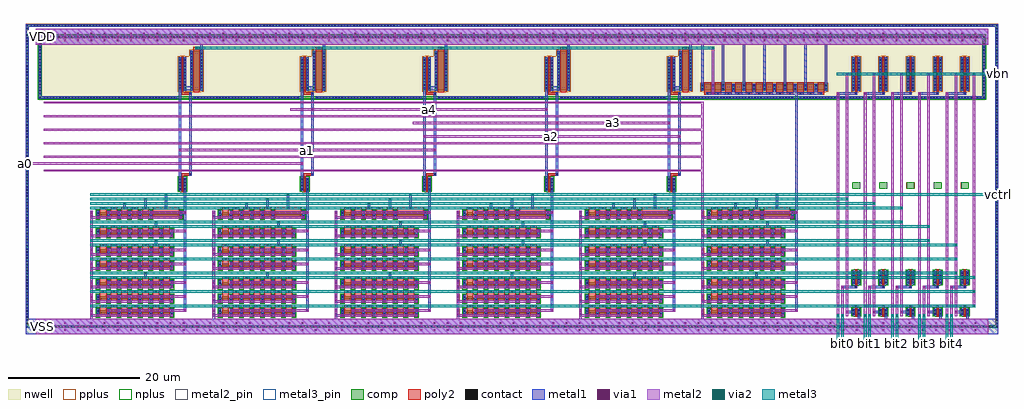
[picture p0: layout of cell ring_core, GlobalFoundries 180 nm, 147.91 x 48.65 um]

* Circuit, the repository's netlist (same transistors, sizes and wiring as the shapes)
* ring core exported from sim/vco/vco_bias.py netlist() by layout/gen/export_core.py
* dropped (reference/filter/wiring C): XMN1 XMN2 XRBW XRBN XMP1 XMP2 XMS1 XMS2 XMS3 Rvbn Cw0 Cw1 Cw2 Cw3 Cw4
.subckt ring_core VDD VSS vbn vctrl bit0 bit1 bit2 bit3 bit4 bitb0 bitb1 bitb2 bitb3 bitb4 a0 a1 a2 a3 a4
XTN0 g0 bit0 vbn VSS nfet_03v3 w=2u l=0.28u ad=1.0p as=1.0p pd=5.0u ps=5.0u m=1
XTP0 g0 bitb0 vbn VDD pfet_03v3 w=5u l=0.28u ad=2.5p as=2.5p pd=11.0u ps=11.0u m=1
XTD0 g0 bitb0 VSS VSS nfet_03v3 w=1u l=0.28u ad=0.5p as=0.5p pd=3.0u ps=3.0u m=1
XTN1 g1 bit1 vbn VSS nfet_03v3 w=2u l=0.28u ad=1.0p as=1.0p pd=5.0u ps=5.0u m=1
XTP1 g1 bitb1 vbn VDD pfet_03v3 w=5u l=0.28u ad=2.5p as=2.5p pd=11.0u ps=11.0u m=1
XTD1 g1 bitb1 VSS VSS nfet_03v3 w=1u l=0.28u ad=0.5p as=0.5p pd=3.0u ps=3.0u m=1
XTN2 g2 bit2 vbn VSS nfet_03v3 w=2u l=0.28u ad=1.0p as=1.0p pd=5.0u ps=5.0u m=1
XTP2 g2 bitb2 vbn VDD pfet_03v3 w=5u l=0.28u ad=2.5p as=2.5p pd=11.0u ps=11.0u m=1
XTD2 g2 bitb2 VSS VSS nfet_03v3 w=1u l=0.28u ad=0.5p as=0.5p pd=3.0u ps=3.0u m=1
XTN3 g3 bit3 vbn VSS nfet_03v3 w=2u l=0.28u ad=1.0p as=1.0p pd=5.0u ps=5.0u m=1
XTP3 g3 bitb3 vbn VDD pfet_03v3 w=5u l=0.28u ad=2.5p as=2.5p pd=11.0u ps=11.0u m=1
XTD3 g3 bitb3 VSS VSS nfet_03v3 w=1u l=0.28u ad=0.5p as=0.5p pd=3.0u ps=3.0u m=1
XTN4 g4 bit4 vbn VSS nfet_03v3 w=2u l=0.28u ad=1.0p as=1.0p pd=5.0u ps=5.0u m=1
XTP4 g4 bitb4 vbn VDD pfet_03v3 w=5u l=0.28u ad=2.5p as=2.5p pd=11.0u ps=11.0u m=1
XTD4 g4 bitb4 VSS VSS nfet_03v3 w=1u l=0.28u ad=0.5p as=0.5p pd=3.0u ps=3.0u m=1
XMPB vbp vbp VDD VDD pfet_03v3 w=1.0u l=1.0u ad=0.5p as=0.5p pd=3.0u ps=3.0u m=12
XFM vbp vbn VSS VSS nfet_03v3 w=0.25u l=1.0u ad=0.125p as=0.125p pd=1.5u ps=1.5u m=16
XFM_0 vbp g0 VSS VSS nfet_03v3 w=0.25u l=1.0u ad=0.125p as=0.125p pd=1.5u ps=1.5u m=1
XFM_1 vbp g1 VSS VSS nfet_03v3 w=0.25u l=1.0u ad=0.125p as=0.125p pd=1.5u ps=1.5u m=2
XFM_2 vbp g2 VSS VSS nfet_03v3 w=0.25u l=1.0u ad=0.125p as=0.125p pd=1.5u ps=1.5u m=4
XFM_3 vbp g3 VSS VSS nfet_03v3 w=0.25u l=1.0u ad=0.125p as=0.125p pd=1.5u ps=1.5u m=8
XFM_4 vbp g4 VSS VSS nfet_03v3 w=0.25u l=1.0u ad=0.125p as=0.125p pd=1.5u ps=1.5u m=16
XFFM vbp vctrl VSS VSS nfet_03v3 w=0.25u l=4.0u ad=0.125p as=0.125p pd=1.5u ps=1.5u m=1
XH0 h0 vbp VDD VDD pfet_03v3 w=6.0u l=1.0u ad=3.0p as=3.0p pd=13.0u ps=13.0u m=1
XP0 a1 a0 h0 VDD pfet_03v3 w=5.0u l=0.28u ad=2.5p as=2.5p pd=11.0u ps=11.0u m=1
XN0 a1 a0 f0 VSS nfet_03v3 w=2.0u l=0.28u ad=1.0p as=1.0p pd=5.0u ps=5.0u m=1
XFs0 f0 vbn VSS VSS nfet_03v3 w=0.25u l=1.0u ad=0.125p as=0.125p pd=1.5u ps=1.5u m=16
XFs0_0 f0 g0 VSS VSS nfet_03v3 w=0.25u l=1.0u ad=0.125p as=0.125p pd=1.5u ps=1.5u m=1
XFs0_1 f0 g1 VSS VSS nfet_03v3 w=0.25u l=1.0u ad=0.125p as=0.125p pd=1.5u ps=1.5u m=2
XFs0_2 f0 g2 VSS VSS nfet_03v3 w=0.25u l=1.0u ad=0.125p as=0.125p pd=1.5u ps=1.5u m=4
XFs0_3 f0 g3 VSS VSS nfet_03v3 w=0.25u l=1.0u ad=0.125p as=0.125p pd=1.5u ps=1.5u m=8
XFs0_4 f0 g4 VSS VSS nfet_03v3 w=0.25u l=1.0u ad=0.125p as=0.125p pd=1.5u ps=1.5u m=16
XFFs0 f0 vctrl VSS VSS nfet_03v3 w=0.25u l=4.0u ad=0.125p as=0.125p pd=1.5u ps=1.5u m=1
XH1 h1 vbp VDD VDD pfet_03v3 w=6.0u l=1.0u ad=3.0p as=3.0p pd=13.0u ps=13.0u m=1
XP1 a2 a1 h1 VDD pfet_03v3 w=5.0u l=0.28u ad=2.5p as=2.5p pd=11.0u ps=11.0u m=1
XN1 a2 a1 f1 VSS nfet_03v3 w=2.0u l=0.28u ad=1.0p as=1.0p pd=5.0u ps=5.0u m=1
XFs1 f1 vbn VSS VSS nfet_03v3 w=0.25u l=1.0u ad=0.125p as=0.125p pd=1.5u ps=1.5u m=16
XFs1_0 f1 g0 VSS VSS nfet_03v3 w=0.25u l=1.0u ad=0.125p as=0.125p pd=1.5u ps=1.5u m=1
XFs1_1 f1 g1 VSS VSS nfet_03v3 w=0.25u l=1.0u ad=0.125p as=0.125p pd=1.5u ps=1.5u m=2
XFs1_2 f1 g2 VSS VSS nfet_03v3 w=0.25u l=1.0u ad=0.125p as=0.125p pd=1.5u ps=1.5u m=4
XFs1_3 f1 g3 VSS VSS nfet_03v3 w=0.25u l=1.0u ad=0.125p as=0.125p pd=1.5u ps=1.5u m=8
XFs1_4 f1 g4 VSS VSS nfet_03v3 w=0.25u l=1.0u ad=0.125p as=0.125p pd=1.5u ps=1.5u m=16
XFFs1 f1 vctrl VSS VSS nfet_03v3 w=0.25u l=4.0u ad=0.125p as=0.125p pd=1.5u ps=1.5u m=1
XH2 h2 vbp VDD VDD pfet_03v3 w=6.0u l=1.0u ad=3.0p as=3.0p pd=13.0u ps=13.0u m=1
XP2 a3 a2 h2 VDD pfet_03v3 w=5.0u l=0.28u ad=2.5p as=2.5p pd=11.0u ps=11.0u m=1
XN2 a3 a2 f2 VSS nfet_03v3 w=2.0u l=0.28u ad=1.0p as=1.0p pd=5.0u ps=5.0u m=1
XFs2 f2 vbn VSS VSS nfet_03v3 w=0.25u l=1.0u ad=0.125p as=0.125p pd=1.5u ps=1.5u m=16
XFs2_0 f2 g0 VSS VSS nfet_03v3 w=0.25u l=1.0u ad=0.125p as=0.125p pd=1.5u ps=1.5u m=1
XFs2_1 f2 g1 VSS VSS nfet_03v3 w=0.25u l=1.0u ad=0.125p as=0.125p pd=1.5u ps=1.5u m=2
XFs2_2 f2 g2 VSS VSS nfet_03v3 w=0.25u l=1.0u ad=0.125p as=0.125p pd=1.5u ps=1.5u m=4
XFs2_3 f2 g3 VSS VSS nfet_03v3 w=0.25u l=1.0u ad=0.125p as=0.125p pd=1.5u ps=1.5u m=8
XFs2_4 f2 g4 VSS VSS nfet_03v3 w=0.25u l=1.0u ad=0.125p as=0.125p pd=1.5u ps=1.5u m=16
XFFs2 f2 vctrl VSS VSS nfet_03v3 w=0.25u l=4.0u ad=0.125p as=0.125p pd=1.5u ps=1.5u m=1
XH3 h3 vbp VDD VDD pfet_03v3 w=6.0u l=1.0u ad=3.0p as=3.0p pd=13.0u ps=13.0u m=1
XP3 a4 a3 h3 VDD pfet_03v3 w=5.0u l=0.28u ad=2.5p as=2.5p pd=11.0u ps=11.0u m=1
XN3 a4 a3 f3 VSS nfet_03v3 w=2.0u l=0.28u ad=1.0p as=1.0p pd=5.0u ps=5.0u m=1
XFs3 f3 vbn VSS VSS nfet_03v3 w=0.25u l=1.0u ad=0.125p as=0.125p pd=1.5u ps=1.5u m=16
XFs3_0 f3 g0 VSS VSS nfet_03v3 w=0.25u l=1.0u ad=0.125p as=0.125p pd=1.5u ps=1.5u m=1
XFs3_1 f3 g1 VSS VSS nfet_03v3 w=0.25u l=1.0u ad=0.125p as=0.125p pd=1.5u ps=1.5u m=2
XFs3_2 f3 g2 VSS VSS nfet_03v3 w=0.25u l=1.0u ad=0.125p as=0.125p pd=1.5u ps=1.5u m=4
XFs3_3 f3 g3 VSS VSS nfet_03v3 w=0.25u l=1.0u ad=0.125p as=0.125p pd=1.5u ps=1.5u m=8
XFs3_4 f3 g4 VSS VSS nfet_03v3 w=0.25u l=1.0u ad=0.125p as=0.125p pd=1.5u ps=1.5u m=16
XFFs3 f3 vctrl VSS VSS nfet_03v3 w=0.25u l=4.0u ad=0.125p as=0.125p pd=1.5u ps=1.5u m=1
XH4 h4 vbp VDD VDD pfet_03v3 w=6.0u l=1.0u ad=3.0p as=3.0p pd=13.0u ps=13.0u m=1
XP4 a0 a4 h4 VDD pfet_03v3 w=5.0u l=0.28u ad=2.5p as=2.5p pd=11.0u ps=11.0u m=1
XN4 a0 a4 f4 VSS nfet_03v3 w=2.0u l=0.28u ad=1.0p as=1.0p pd=5.0u ps=5.0u m=1
XFs4 f4 vbn VSS VSS nfet_03v3 w=0.25u l=1.0u ad=0.125p as=0.125p pd=1.5u ps=1.5u m=16
XFs4_0 f4 g0 VSS VSS nfet_03v3 w=0.25u l=1.0u ad=0.125p as=0.125p pd=1.5u ps=1.5u m=1
XFs4_1 f4 g1 VSS VSS nfet_03v3 w=0.25u l=1.0u ad=0.125p as=0.125p pd=1.5u ps=1.5u m=2
XFs4_2 f4 g2 VSS VSS nfet_03v3 w=0.25u l=1.0u ad=0.125p as=0.125p pd=1.5u ps=1.5u m=4
XFs4_3 f4 g3 VSS VSS nfet_03v3 w=0.25u l=1.0u ad=0.125p as=0.125p pd=1.5u ps=1.5u m=8
XFs4_4 f4 g4 VSS VSS nfet_03v3 w=0.25u l=1.0u ad=0.125p as=0.125p pd=1.5u ps=1.5u m=16
XFFs4 f4 vctrl VSS VSS nfet_03v3 w=0.25u l=4.0u ad=0.125p as=0.125p pd=1.5u ps=1.5u m=1
.ends

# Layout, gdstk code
import gdstk
lib = gdstk.Library(unit=1e-6, precision=1e-09)
def R(c, l, rs):  # rectangles x0, y0, x1, y1
    for r in rs: c.add(gdstk.rectangle(r[:2], r[2:], *l))
def A(c, l, x, y, w, h, nx, ny, dx, dy):  # array of equal rectangles
    R(c, l, [(x+i*dx, y+j*dy, x+i*dx+w, y+j*dy+h) for i in range(nx) for j in range(ny)])
nwell = (21, 0)
comp = (22, 0)
poly2 = (30, 0)
pplus = (31, 0)
nplus = (32, 0)
contact = (33, 0)
metal1 = (34, 0)
via1 = (35, 0)
metal2 = (36, 0)
metal2_pin = (36, 10)
via2 = (38, 0)
metal3 = (42, 0)
metal3_pin = (42, 10)

ring_sw = lib.new_cell('ring_sw')
R(ring_sw, nwell, [(-0.45,32.84,21.43,42.745)])
A(ring_sw, comp, 2.34, 0.2, 1.18, 1, 5, 2, 4.12, 19.17)
A(ring_sw, comp, 2.34, 4.915, 1.18, 2, 5, 1, 4.12, 0)
A(ring_sw, comp, 2.34, 34.27, 1.18, 5, 5, 1, 4.12, 0)
A(ring_sw, poly2, 2.79, -0.03, 0.28, 1.49, 5, 1, 4.12, 0)
A(ring_sw, poly2, 2.745, 1.46, 0.37, 0.37, 5, 2, 4.12, 2.825)
A(ring_sw, poly2, 2.79, 4.655, 0.28, 2.49, 5, 1, 4.12, 0)
A(ring_sw, poly2, 2.745, 33.64, 0.37, 0.37, 5, 1, 4.12, 0)
A(ring_sw, poly2, 2.79, 34.01, 0.28, 5.49, 5, 1, 4.12, 0)
A(ring_sw, pplus, 2.32, 19.35, 1.22, 1.04, 5, 1, 4.12, 0)
A(ring_sw, pplus, 2.56, 34.04, 0.74, 0.07, 5, 2, 4.12, 5.39)
A(ring_sw, pplus, 2.18, 34.11, 1.5, 5.32, 5, 1, 4.12, 0)
A(ring_sw, nplus, 2.56, -0.03, 0.74, 0.07, 5, 2, 4.12, 1.39)
A(ring_sw, nplus, 2.18, 0.04, 1.5, 1.32, 5, 1, 4.12, 0)
A(ring_sw, nplus, 2.56, 4.685, 0.74, 0.07, 5, 2, 4.12, 2.39)
A(ring_sw, nplus, 2.18, 4.755, 1.5, 2.32, 5, 1, 4.12, 0)
A(ring_sw, contact, 2.82, 1.535, 0.22, 0.22, 5, 2, 4.12, 2.825)
A(ring_sw, contact, 2.415, 5.1, 0.22, 0.22, 1, 4, 0, 0.47)
A(ring_sw, contact, 3.225, 5.1, 0.22, 0.22, 1, 4, 0, 0.47)
A(ring_sw, contact, 6.535, 5.1, 0.22, 0.22, 1, 4, 0, 0.47)
A(ring_sw, contact, 7.345, 5.1, 0.22, 0.22, 1, 4, 0, 0.47)
A(ring_sw, contact, 10.655, 5.1, 0.22, 0.22, 1, 4, 0, 0.47)
A(ring_sw, contact, 11.465, 5.1, 0.22, 0.22, 1, 4, 0, 0.47)
A(ring_sw, contact, 14.775, 5.1, 0.22, 0.22, 1, 4, 0, 0.47)
A(ring_sw, contact, 15.585, 5.1, 0.22, 0.22, 1, 4, 0, 0.47)
A(ring_sw, contact, 18.895, 5.1, 0.22, 0.22, 1, 4, 0, 0.47)
A(ring_sw, contact, 19.705, 5.1, 0.22, 0.22, 1, 4, 0, 0.47)
A(ring_sw, contact, 2.82, 33.715, 0.22, 0.22, 5, 1, 4.12, 0)
A(ring_sw, contact, 2.415, 34.545, 0.22, 0.22, 1, 10, 0, 0.47)
A(ring_sw, contact, 3.225, 34.545, 0.22, 0.22, 1, 10, 0, 0.47)
A(ring_sw, contact, 6.535, 34.545, 0.22, 0.22, 1, 10, 0, 0.47)
A(ring_sw, contact, 7.345, 34.545, 0.22, 0.22, 1, 10, 0, 0.47)
A(ring_sw, contact, 10.655, 34.545, 0.22, 0.22, 1, 10, 0, 0.47)
A(ring_sw, contact, 11.465, 34.545, 0.22, 0.22, 1, 10, 0, 0.47)
A(ring_sw, contact, 14.775, 34.545, 0.22, 0.22, 1, 10, 0, 0.47)
A(ring_sw, contact, 15.585, 34.545, 0.22, 0.22, 1, 10, 0, 0.47)
A(ring_sw, contact, 18.895, 34.545, 0.22, 0.22, 1, 10, 0, 0.47)
A(ring_sw, contact, 19.705, 34.545, 0.22, 0.22, 1, 10, 0, 0.47)
R(ring_sw, contact, [(2.415,0.355,2.635,0.575), (3.225,0.355,3.445,0.575), (6.535,0.355,6.755,0.575), (7.345,0.355,7.565,0.575), (10.655,0.355,10.875,0.575), (11.465,0.355,11.685,0.575), (14.775,0.355,14.995,0.575), (15.585,0.355,15.805,0.575), (18.895,0.355,19.115,0.575), (19.705,0.355,19.925,0.575), (2.415,0.825,2.635,1.045), (3.225,0.825,3.445,1.045), (6.535,0.825,6.755,1.045), (7.345,0.825,7.565,1.045), (10.655,0.825,10.875,1.045), (11.465,0.825,11.685,1.045), (14.775,0.825,14.995,1.045), (15.585,0.825,15.805,1.045), (18.895,0.825,19.115,1.045), (19.705,0.825,19.925,1.045)])
A(ring_sw, metal1, 3.145, -0.7, 0.38, 1.905, 5, 1, 4.12, 0)
A(ring_sw, metal1, 2.335, 0.195, 0.38, 0.315, 5, 2, 4.12, 0.695)
A(ring_sw, metal1, 1.36, 0.51, 1.355, 0.38, 5, 2, 4.12, 5.215)
A(ring_sw, metal1, 0, 1.455, 3.12, 0.38, 5, 2, 4.12, 32.18)
A(ring_sw, metal1, 0.68, 4.28, 2.44, 0.38, 5, 1, 4.12, 0)
A(ring_sw, metal1, 2.335, 4.91, 0.38, 0.815, 5, 2, 4.12, 1.195)
A(ring_sw, metal1, 3.145, 4.91, 0.38, 2.01, 5, 1, 4.12, 0)
A(ring_sw, metal1, 2.335, 34.265, 0.38, 2.315, 5, 2, 4.12, 2.695)
A(ring_sw, metal1, 3.145, 34.265, 0.38, 5.01, 5, 1, 4.12, 0)
A(ring_sw, metal1, 1.36, 36.58, 1.355, 0.38, 5, 1, 4.12, 0)
A(ring_sw, via1, 1.42, 0.57, 0.26, 0.26, 5, 1, 4.12, 0)
A(ring_sw, via1, 0.06, 1.515, 0.26, 0.26, 5, 2, 4.12, 32.18)
A(ring_sw, via1, 0.74, 4.34, 0.26, 0.26, 5, 1, 4.12, 0)
R(ring_sw, via1, [(1.42,5.785,1.68,6.045), (3.205,5.785,3.465,6.045), (5.54,5.785,5.8,6.045), (7.325,5.785,7.585,6.045), (9.66,5.785,9.92,6.045), (11.445,5.785,11.705,6.045), (13.78,5.785,14.04,6.045), (15.565,5.785,15.825,6.045), (17.9,5.785,18.16,6.045), (19.685,5.785,19.945,6.045), (1.42,36.64,1.68,36.9), (3.205,36.64,3.465,36.9), (5.54,36.64,5.8,36.9), (7.325,36.64,7.585,36.9), (9.66,36.64,9.92,36.9), (11.445,36.64,11.705,36.9), (13.78,36.64,14.04,36.9), (15.565,36.64,15.825,36.9), (17.9,36.64,18.16,36.9), (19.685,36.64,19.945,36.9)])
A(ring_sw, metal2, 0, 0, 0.38, 34.015, 5, 1, 4.12, 0)
A(ring_sw, metal2, 0.68, 0, 0.38, 4.66, 5, 1, 4.12, 0)
A(ring_sw, metal2, 1.36, 0.08, 0.38, 36.88, 5, 1, 4.12, 0)
A(ring_sw, metal2, 3.145, 5.725, 0.38, 0.38, 5, 2, 4.12, 30.855)
R(ring_sw, metal2, [(20.6,1.455,20.98,36.96)])
A(ring_sw, via2, 20.66, 1.515, 0.26, 0.26, 1, 3, 0, 2.135)
A(ring_sw, via2, 3.205, 5.785, 0.26, 0.26, 5, 2, 4.12, 30.855)
A(ring_sw, via2, 17.9, 6.465, 0.26, 0.26, 1, 3, 0, 2.135)
R(ring_sw, via2, [(0.06,0.06,0.32,0.32), (0.74,0.06,1,0.32), (4.18,0.06,4.44,0.32), (4.86,0.06,5.12,0.32), (8.3,0.06,8.56,0.32), (8.98,0.06,9.24,0.32), (12.42,0.06,12.68,0.32), (13.1,0.06,13.36,0.32), (16.54,0.06,16.8,0.32), (17.22,0.06,17.48,0.32), (13.78,11.415,14.04,11.675), (13.78,13.55,14.04,13.81), (9.66,14.23,9.92,14.49), (9.66,16.365,9.92,16.625), (5.54,17.045,5.8,17.305), (1.42,17.725,1.68,17.985), (20.66,36.64,20.92,36.9)])
A(ring_sw, metal3, 20.6, 1.455, 0.38, 0.38, 1, 3, 0, 2.135)
A(ring_sw, metal3, 3.145, 5.725, 0.38, 0.38, 5, 1, 4.12, 0)
A(ring_sw, metal3, 17.84, 6.405, 0.38, 0.38, 1, 3, 0, 2.135)
R(ring_sw, metal3, [(0,0,0.38,0.38), (0.68,0,1.06,0.38), (4.12,0,4.5,0.38), (4.8,0,5.18,0.38), (8.24,0,8.62,0.38), (8.92,0,9.3,0.38), (12.36,0,12.74,0.38), (13.04,0,13.42,0.38), (16.48,0,16.86,0.38), (17.16,0,17.54,0.38), (13.72,11.355,14.1,11.735), (13.72,13.49,14.1,13.87), (9.6,14.17,9.98,14.55), (9.6,16.305,9.98,16.685), (5.48,16.985,5.86,17.365), (1.36,17.665,1.74,18.045), (0,36.58,20.98,36.96)])

ring_master = lib.new_cell('ring_master')
R(ring_master, nwell, [(-0.45,32.84,19.51,42.745)])
A(ring_master, comp, 0, 0, 0.38, 1.2, 1, 3, 0, 2.135)
A(ring_master, comp, 0.98, 0, 0.38, 0.475, 8, 2, 1.6, 0.725)
A(ring_master, comp, 0.98, 0.475, 11.58, 0.25, 1, 3, 0, 2.135)
A(ring_master, comp, 0.98, 2.135, 0.38, 0.475, 8, 2, 1.6, 0.725)
A(ring_master, comp, 0.98, 4.27, 0.38, 0.475, 8, 2, 1.6, 0.725)
A(ring_master, comp, 0.98, 7.085, 0.38, 0.475, 8, 2, 1.6, 0.725)
A(ring_master, comp, 0, 9.22, 0.38, 1.2, 1, 3, 0, 2.815)
A(ring_master, comp, 0.98, 9.22, 0.38, 0.475, 8, 2, 1.6, 0.725)
A(ring_master, comp, 0.98, 12.035, 0.38, 0.475, 8, 2, 1.6, 0.725)
A(ring_master, comp, 0.98, 14.85, 0.38, 0.475, 6, 2, 1.6, 0.725)
R(ring_master, comp, [(0,7.085,0.38,8.285), (0.98,7.56,12.56,7.81), (0.98,9.695,12.56,9.945), (0.98,12.51,12.56,12.76), (13.58,14.85,13.96,15.325), (0.98,15.325,13.96,15.575), (13.58,15.575,13.96,16.05), (0,34.27,19.06,35.27)])
A(ring_master, poly2, 1.47, 0.245, 1, 1.585, 7, 3, 1.6, 2.135)
A(ring_master, poly2, 1.47, 7.33, 1, 1.585, 7, 2, 1.6, 2.135)
A(ring_master, poly2, 1.47, 12.28, 1, 1.585, 7, 1, 1.6, 0)
A(ring_master, poly2, 1.47, 15.095, 1, 1.585, 5, 1, 1.6, 0)
A(ring_master, poly2, 0.45, 33.64, 1, 1.86, 12, 1, 1.56, 0)
R(ring_master, poly2, [(9.47,15.095,13.47,16.68)])
A(ring_master, pplus, -0.02, -0.025, 0.42, 1.25, 1, 3, 0, 2.135)
A(ring_master, pplus, -0.02, 9.195, 0.42, 1.25, 1, 3, 0, 2.815)
R(ring_master, pplus, [(-0.02,7.06,0.4,8.31), (0.22,34.04,18.84,34.11), (-0.16,34.11,19.22,35.43), (0.22,35.43,18.84,35.5)])
A(ring_master, nplus, 0.82, -0.16, 0.7, 0.405, 8, 2, 1.6, 1.115)
A(ring_master, nplus, 0.82, 0.245, 11.9, 0.71, 1, 3, 0, 2.135)
A(ring_master, nplus, 0.82, 1.975, 0.7, 0.405, 8, 2, 1.6, 1.115)
A(ring_master, nplus, 0.82, 4.11, 0.7, 0.405, 8, 2, 1.6, 1.115)
A(ring_master, nplus, 0.82, 6.925, 0.7, 0.405, 8, 2, 1.6, 1.115)
A(ring_master, nplus, 0.82, 9.06, 0.7, 0.405, 8, 2, 1.6, 1.115)
A(ring_master, nplus, 0.82, 11.875, 0.7, 0.405, 8, 2, 1.6, 1.115)
A(ring_master, nplus, 0.82, 14.69, 0.7, 0.405, 6, 2, 1.6, 1.115)
R(ring_master, nplus, [(0.82,7.33,12.72,8.04), (0.82,9.465,12.72,10.175), (0.82,12.28,12.72,12.99), (13.42,14.69,14.12,15.095), (0.82,15.095,14.12,15.805), (13.42,15.805,14.12,16.21)])
A(ring_master, contact, 1.06, 0.255, 0.22, 0.22, 8, 2, 1.6, 0.47)
A(ring_master, contact, 1.86, 1.535, 0.22, 0.22, 7, 3, 1.6, 2.135)
A(ring_master, contact, 1.06, 2.39, 0.22, 0.22, 8, 2, 1.6, 0.47)
A(ring_master, contact, 1.06, 4.525, 0.22, 0.22, 8, 2, 1.6, 0.47)
A(ring_master, contact, 1.06, 7.34, 0.22, 0.22, 8, 2, 1.6, 0.47)
A(ring_master, contact, 1.86, 8.62, 0.22, 0.22, 7, 2, 1.6, 2.135)
A(ring_master, contact, 1.06, 9.475, 0.22, 0.22, 8, 2, 1.6, 0.47)
A(ring_master, contact, 1.06, 12.29, 0.22, 0.22, 8, 2, 1.6, 0.47)
A(ring_master, contact, 1.86, 13.57, 0.22, 0.22, 7, 1, 1.6, 0)
A(ring_master, contact, 1.06, 15.105, 0.22, 0.22, 6, 2, 1.6, 0.47)
A(ring_master, contact, 1.86, 16.385, 0.22, 0.22, 5, 1, 1.6, 0)
A(ring_master, contact, 0.84, 33.715, 0.22, 0.22, 12, 1, 1.56, 0)
A(ring_master, contact, 1.62, 34.425, 0.22, 0.22, 11, 2, 1.56, 0.47)
R(ring_master, contact, [(0.08,0.255,0.3,0.475), (0.08,0.725,0.3,0.945), (0.08,2.39,0.3,2.61), (0.08,2.86,0.3,3.08), (0.08,4.525,0.3,4.745), (0.08,4.995,0.3,5.215), (0.08,7.34,0.3,7.56), (0.08,7.81,0.3,8.03), (0.08,9.475,0.3,9.695), (0.08,9.945,0.3,10.165), (0.08,12.29,0.3,12.51), (0.08,12.76,0.3,12.98), (0.08,15.105,0.3,15.325), (13.66,15.105,13.88,15.325), (0.08,15.575,0.3,15.795), (13.66,15.575,13.88,15.795), (11.36,16.385,11.58,16.605), (0.075,34.425,0.295,34.645), (18.765,34.425,18.985,34.645), (0.075,34.895,0.295,35.115), (18.765,34.895,18.985,35.115)])
A(ring_master, metal1, 0, -0.005, 0.38, 1.21, 1, 3, 0, 2.135)
A(ring_master, metal1, 0.98, -0.005, 0.38, 1.21, 8, 3, 1.6, 2.135)
A(ring_master, metal1, 0.98, 7.08, 0.38, 1.21, 8, 2, 1.6, 2.135)
A(ring_master, metal1, 0, 9.215, 0.38, 1.21, 1, 3, 0, 2.815)
A(ring_master, metal1, 0.98, 12.03, 0.38, 1.21, 8, 1, 1.6, 0)
A(ring_master, metal1, 0.98, 14.845, 0.38, 1.21, 6, 1, 1.6, 0)
A(ring_master, metal1, 1.54, 34.015, 0.38, 1.26, 6, 1, 3.12, 0)
A(ring_master, metal1, 3.1, 34.265, 0.38, 7.34, 5, 1, 3.12, 0)
R(ring_master, metal1, [(14.2,0.715,14.58,33.635), (1.78,1.455,11.76,1.835), (1.78,3.59,11.76,3.97), (1.78,5.725,3.76,6.105), (4.98,5.725,11.76,6.105), (8.18,6.105,8.56,6.785), (0,7.08,0.38,8.29), (1.78,8.54,11.76,8.92), (1.78,10.675,6.96,11.055), (8.18,10.675,11.76,11.055), (9.78,11.055,10.16,11.735), (1.78,13.49,8.56,13.87), (9.78,13.49,11.76,13.87), (9.78,13.87,10.16,14.55), (13.58,14.845,13.96,16.055), (1.78,16.305,3.76,16.685), (4.98,16.305,6.96,16.685), (8.18,16.305,8.56,18.045), (11.28,16.305,11.66,18.725), (4.98,16.685,5.36,17.365), (0.76,33.635,18.3,34.015), (-0.005,34.265,0.375,41.605), (18.685,34.265,19.065,41.605)])
A(ring_master, via1, 1.04, 0.06, 0.26, 0.26, 4, 3, 3.2, 2.135)
A(ring_master, via1, 2.64, 0.78, 0.26, 0.26, 4, 3, 3.2, 2.135)
A(ring_master, via1, 14.26, 0.78, 0.26, 0.26, 1, 3, 0, 2.135)
A(ring_master, via1, 1.04, 7.145, 0.26, 0.26, 4, 2, 3.2, 2.135)
A(ring_master, via1, 2.64, 7.865, 0.26, 0.26, 4, 2, 3.2, 2.135)
A(ring_master, via1, 14.26, 10, 0.26, 0.26, 1, 3, 0, 2.815)
A(ring_master, via1, 1.04, 12.095, 0.26, 0.26, 4, 1, 3.2, 0)
A(ring_master, via1, 2.64, 12.815, 0.26, 0.26, 4, 1, 3.2, 0)
A(ring_master, via1, 1.04, 14.91, 0.26, 0.26, 3, 1, 3.2, 0)
A(ring_master, via1, 2.64, 15.63, 0.26, 0.26, 3, 1, 3.2, 0)
R(ring_master, via1, [(0.06,0.21,0.32,0.47), (0.06,0.73,0.32,0.99), (6.64,1.515,6.9,1.775), (0.06,2.345,0.32,2.605), (0.06,2.865,0.32,3.125), (6.64,3.65,6.9,3.91), (0.06,4.48,0.32,4.74), (0.06,5,0.32,5.26), (1.84,5.785,2.1,6.045), (8.24,6.465,8.5,6.725), (0.06,7.295,0.32,7.555), (0.06,7.815,0.32,8.075), (14.26,7.865,14.52,8.125), (6.64,8.6,6.9,8.86), (0.06,9.43,0.32,9.69), (0.06,9.95,0.32,10.21), (3.44,10.735,3.7,10.995), (9.84,11.415,10.1,11.675), (0.06,12.245,0.32,12.505), (0.06,12.765,0.32,13.025), (5.04,13.55,5.3,13.81), (9.84,14.23,10.1,14.49), (13.64,14.91,13.9,15.17), (0.06,15.06,0.32,15.32), (0.06,15.58,0.32,15.84), (1.84,16.365,2.1,16.625), (5.04,17.045,5.3,17.305), (8.24,17.725,8.5,17.985), (11.34,18.405,11.6,18.665), (1.6,33.695,1.86,33.955)])
A(ring_master, metal2, 0, 0, 12.56, 0.38, 1, 3, 0, 2.135)
A(ring_master, metal2, 2.58, 0.72, 12, 0.38, 1, 3, 0, 2.135)
A(ring_master, metal2, 2.58, 9.94, 12, 0.38, 1, 3, 0, 2.815)
R(ring_master, metal2, [(0,-0.7,0.38,0), (0,0.38,0.38,2.135), (6.58,1.455,6.96,1.835), (0,2.515,0.38,4.27), (6.58,3.59,6.96,3.97), (0,4.65,0.38,7.085), (1.78,5.725,2.16,6.105), (8.18,6.405,8.56,6.785), (0,7.085,12.56,7.465), (0,7.465,0.38,9.22), (2.58,7.805,14.58,8.185), (6.58,8.54,6.96,8.92), (0,9.22,12.56,9.6), (0,9.6,0.38,12.035), (3.38,10.675,3.76,11.055), (9.78,11.355,10.16,11.735), (0,12.035,12.56,12.415), (0,12.415,0.38,14.85), (4.98,13.49,5.36,13.87), (9.78,14.17,10.16,14.55), (0,14.85,13.96,15.23), (0,15.23,0.38,16.05), (1.78,16.305,2.16,16.685), (4.98,16.985,5.36,17.365), (8.18,17.665,8.56,18.045), (11.28,18.345,11.66,18.725), (1.54,33.635,1.92,40.905)])
R(ring_master, via2, [(6.64,1.515,6.9,1.775), (6.64,3.65,6.9,3.91), (1.84,5.785,2.1,6.045), (8.24,6.465,8.5,6.725), (6.64,8.6,6.9,8.86), (3.44,10.735,3.7,10.995), (9.84,11.415,10.1,11.675), (5.04,13.55,5.3,13.81), (9.84,14.23,10.1,14.49), (1.84,16.365,2.1,16.625), (5.04,17.045,5.3,17.305), (8.24,17.725,8.5,17.985), (11.34,18.405,11.6,18.665), (1.6,40.585,1.86,40.845)])
R(ring_master, metal3, [(6.58,1.455,6.96,1.835), (6.58,3.59,6.96,3.97), (1.78,5.725,2.16,6.105), (8.18,6.405,8.56,6.785), (6.58,8.54,6.96,8.92), (3.38,10.675,3.76,11.055), (9.78,11.355,10.16,11.735), (4.98,13.49,5.36,13.87), (9.78,14.17,10.16,14.55), (1.78,16.305,2.16,16.685), (4.98,16.985,5.36,17.365), (8.18,17.665,8.56,18.045), (11.28,18.345,11.66,18.725), (1.54,40.525,1.92,40.905)])
ring_master.add(gdstk.Label('vbp', (1.73,40.715), layer=42, texttype=0))

ring_stage = lib.new_cell('ring_stage')
R(ring_stage, nwell, [(12.945,32.84,17.525,42.745)])
A(ring_stage, comp, 0, 0, 0.38, 1.2, 1, 3, 0, 2.135)
A(ring_stage, comp, 0.98, 0, 0.38, 0.475, 8, 2, 1.6, 0.725)
A(ring_stage, comp, 0.98, 0.475, 11.58, 0.25, 1, 3, 0, 2.135)
A(ring_stage, comp, 0.98, 2.135, 0.38, 0.475, 8, 2, 1.6, 0.725)
A(ring_stage, comp, 0.98, 4.27, 0.38, 0.475, 8, 2, 1.6, 0.725)
A(ring_stage, comp, 0.98, 7.085, 0.38, 0.475, 8, 2, 1.6, 0.725)
A(ring_stage, comp, 0, 9.22, 0.38, 1.2, 1, 3, 0, 2.815)
A(ring_stage, comp, 0.98, 9.22, 0.38, 0.475, 8, 2, 1.6, 0.725)
A(ring_stage, comp, 0.98, 12.035, 0.38, 0.475, 8, 2, 1.6, 0.725)
A(ring_stage, comp, 0.98, 14.85, 0.38, 0.475, 6, 2, 1.6, 0.725)
R(ring_stage, comp, [(0,7.085,0.38,8.285), (0.98,7.56,12.56,7.81), (0.98,9.695,12.56,9.945), (0.98,12.51,12.56,12.76), (13.58,14.85,13.96,15.325), (0.98,15.325,13.96,15.575), (13.58,15.575,13.96,16.05), (13.395,19.075,14.575,21.075), (13.395,34.27,14.575,39.27), (15.175,34.27,17.075,40.27)])
A(ring_stage, poly2, 1.47, 0.245, 1, 1.585, 7, 3, 1.6, 2.135)
A(ring_stage, poly2, 1.47, 7.33, 1, 1.585, 7, 2, 1.6, 2.135)
A(ring_stage, poly2, 1.47, 12.28, 1, 1.585, 7, 1, 1.6, 0)
A(ring_stage, poly2, 1.47, 15.095, 1, 1.585, 5, 1, 1.6, 0)
R(ring_stage, poly2, [(9.47,15.095,13.47,16.68), (13.845,18.845,14.125,21.335), (13.845,21.335,15.37,21.705), (13.845,33.64,15.37,34.01), (13.845,34.01,14.125,39.5), (15.625,34.04,16.625,40.9)])
A(ring_stage, pplus, -0.02, -0.025, 0.42, 1.25, 1, 3, 0, 2.135)
A(ring_stage, pplus, -0.02, 9.195, 0.42, 1.25, 1, 3, 0, 2.815)
R(ring_stage, pplus, [(-0.02,7.06,0.4,8.31), (13.615,34.04,14.355,34.11), (15.395,34.04,16.855,34.11), (13.235,34.11,17.235,39.43), (13.615,39.43,14.355,39.5), (15.015,39.43,17.235,40.43), (15.395,40.43,16.855,40.5)])
A(ring_stage, nplus, 0.82, -0.16, 0.7, 0.405, 8, 2, 1.6, 1.115)
A(ring_stage, nplus, 0.82, 0.245, 11.9, 0.71, 1, 3, 0, 2.135)
A(ring_stage, nplus, 0.82, 1.975, 0.7, 0.405, 8, 2, 1.6, 1.115)
A(ring_stage, nplus, 0.82, 4.11, 0.7, 0.405, 8, 2, 1.6, 1.115)
A(ring_stage, nplus, 0.82, 6.925, 0.7, 0.405, 8, 2, 1.6, 1.115)
A(ring_stage, nplus, 0.82, 9.06, 0.7, 0.405, 8, 2, 1.6, 1.115)
A(ring_stage, nplus, 0.82, 11.875, 0.7, 0.405, 8, 2, 1.6, 1.115)
A(ring_stage, nplus, 0.82, 14.69, 0.7, 0.405, 6, 2, 1.6, 1.115)
R(ring_stage, nplus, [(0.82,7.33,12.72,8.04), (0.82,9.465,12.72,10.175), (0.82,12.28,12.72,12.99), (13.42,14.69,14.12,15.095), (0.82,15.095,14.12,15.805), (13.42,15.805,14.12,16.21), (13.615,18.845,14.355,18.915), (13.235,18.915,14.735,21.235), (13.615,21.235,14.355,21.305)])
A(ring_stage, contact, 1.06, 0.255, 0.22, 0.22, 8, 2, 1.6, 0.47)
A(ring_stage, contact, 1.86, 1.535, 0.22, 0.22, 7, 3, 1.6, 2.135)
A(ring_stage, contact, 1.06, 2.39, 0.22, 0.22, 8, 2, 1.6, 0.47)
A(ring_stage, contact, 1.06, 4.525, 0.22, 0.22, 8, 2, 1.6, 0.47)
A(ring_stage, contact, 1.06, 7.34, 0.22, 0.22, 8, 2, 1.6, 0.47)
A(ring_stage, contact, 1.86, 8.62, 0.22, 0.22, 7, 2, 1.6, 2.135)
A(ring_stage, contact, 1.06, 9.475, 0.22, 0.22, 8, 2, 1.6, 0.47)
A(ring_stage, contact, 1.06, 12.29, 0.22, 0.22, 8, 2, 1.6, 0.47)
A(ring_stage, contact, 1.86, 13.57, 0.22, 0.22, 7, 1, 1.6, 0)
A(ring_stage, contact, 1.06, 15.105, 0.22, 0.22, 6, 2, 1.6, 0.47)
A(ring_stage, contact, 1.86, 16.385, 0.22, 0.22, 5, 1, 1.6, 0)
A(ring_stage, contact, 13.47, 19.26, 0.22, 0.22, 1, 4, 0, 0.47)
A(ring_stage, contact, 14.28, 19.26, 0.22, 0.22, 1, 4, 0, 0.47)
A(ring_stage, contact, 13.47, 34.545, 0.22, 0.22, 1, 10, 0, 0.47)
A(ring_stage, contact, 14.28, 34.545, 0.22, 0.22, 1, 10, 0, 0.47)
A(ring_stage, contact, 15.25, 34.575, 0.22, 0.22, 1, 12, 0, 0.47)
A(ring_stage, contact, 16.78, 34.575, 0.22, 0.22, 1, 12, 0, 0.47)
R(ring_stage, contact, [(0.08,0.255,0.3,0.475), (0.08,0.725,0.3,0.945), (0.08,2.39,0.3,2.61), (0.08,2.86,0.3,3.08), (0.08,4.525,0.3,4.745), (0.08,4.995,0.3,5.215), (0.08,7.34,0.3,7.56), (0.08,7.81,0.3,8.03), (0.08,9.475,0.3,9.695), (0.08,9.945,0.3,10.165), (0.08,12.29,0.3,12.51), (0.08,12.76,0.3,12.98), (0.08,15.105,0.3,15.325), (13.66,15.105,13.88,15.325), (0.08,15.575,0.3,15.795), (13.66,15.575,13.88,15.795), (11.36,16.385,11.58,16.605), (15.075,21.41,15.295,21.63), (15.075,33.715,15.295,33.935), (16.015,40.605,16.235,40.825)])
A(ring_stage, metal1, 0, -0.005, 0.38, 1.21, 1, 3, 0, 2.135)
A(ring_stage, metal1, 0.98, -0.005, 0.38, 1.21, 8, 3, 1.6, 2.135)
A(ring_stage, metal1, 0.98, 7.08, 0.38, 1.21, 8, 2, 1.6, 2.135)
A(ring_stage, metal1, 0, 9.215, 0.38, 1.21, 1, 3, 0, 2.815)
A(ring_stage, metal1, 0.98, 12.03, 0.38, 1.21, 8, 1, 1.6, 0)
A(ring_stage, metal1, 0.98, 14.845, 0.38, 1.21, 6, 1, 1.6, 0)
R(ring_stage, metal1, [(14.2,0.715,14.58,21.08), (1.78,1.455,11.76,1.835), (1.78,3.59,11.76,3.97), (1.78,5.725,3.76,6.105), (4.98,5.725,11.76,6.105), (8.18,6.105,8.56,6.785), (0,7.08,0.38,8.29), (1.78,8.54,11.76,8.92), (1.78,10.675,6.96,11.055), (8.18,10.675,11.76,11.055), (9.78,11.055,10.16,11.735), (1.78,13.49,8.56,13.87), (9.78,13.49,11.76,13.87), (9.78,13.87,10.16,14.55), (13.58,14.845,13.96,16.055), (1.78,16.305,3.76,16.685), (4.98,16.305,6.96,16.685), (8.18,16.305,8.56,18.045), (11.28,16.305,11.66,18.725), (4.98,16.685,5.36,17.365), (13.39,19.07,13.77,39.275), (14.995,21.33,15.375,34.015), (14.2,34.265,14.58,34.34), (15.17,34.265,15.55,34.34), (16.7,34.265,17.08,41.605), (14.2,34.34,15.55,34.94), (14.2,34.94,14.58,39.275), (15.17,34.94,15.55,40.275), (15.935,40.525,16.315,40.905)])
A(ring_stage, via1, 1.04, 0.06, 0.26, 0.26, 4, 3, 3.2, 2.135)
A(ring_stage, via1, 2.64, 0.78, 0.26, 0.26, 4, 3, 3.2, 2.135)
A(ring_stage, via1, 14.26, 0.78, 0.26, 0.26, 1, 3, 0, 2.135)
A(ring_stage, via1, 1.04, 7.145, 0.26, 0.26, 4, 2, 3.2, 2.135)
A(ring_stage, via1, 2.64, 7.865, 0.26, 0.26, 4, 2, 3.2, 2.135)
A(ring_stage, via1, 14.26, 10, 0.26, 0.26, 1, 3, 0, 2.815)
A(ring_stage, via1, 1.04, 12.095, 0.26, 0.26, 4, 1, 3.2, 0)
A(ring_stage, via1, 2.64, 12.815, 0.26, 0.26, 4, 1, 3.2, 0)
A(ring_stage, via1, 1.04, 14.91, 0.26, 0.26, 3, 1, 3.2, 0)
A(ring_stage, via1, 2.64, 15.63, 0.26, 0.26, 3, 1, 3.2, 0)
R(ring_stage, via1, [(0.06,0.21,0.32,0.47), (0.06,0.73,0.32,0.99), (6.64,1.515,6.9,1.775), (0.06,2.345,0.32,2.605), (0.06,2.865,0.32,3.125), (6.64,3.65,6.9,3.91), (0.06,4.48,0.32,4.74), (0.06,5,0.32,5.26), (1.84,5.785,2.1,6.045), (8.24,6.465,8.5,6.725), (0.06,7.295,0.32,7.555), (0.06,7.815,0.32,8.075), (14.26,7.865,14.52,8.125), (6.64,8.6,6.9,8.86), (0.06,9.43,0.32,9.69), (0.06,9.95,0.32,10.21), (3.44,10.735,3.7,10.995), (9.84,11.415,10.1,11.675), (0.06,12.245,0.32,12.505), (0.06,12.765,0.32,13.025), (5.04,13.55,5.3,13.81), (9.84,14.23,10.1,14.49), (13.64,14.91,13.9,15.17), (0.06,15.06,0.32,15.32), (0.06,15.58,0.32,15.84), (1.84,16.365,2.1,16.625), (5.04,17.045,5.3,17.305), (8.24,17.725,8.5,17.985), (11.34,18.405,11.6,18.665), (15.995,40.585,16.255,40.845)])
A(ring_stage, metal2, 0, 0, 12.56, 0.38, 1, 3, 0, 2.135)
A(ring_stage, metal2, 2.58, 0.72, 12, 0.38, 1, 3, 0, 2.135)
A(ring_stage, metal2, 2.58, 9.94, 12, 0.38, 1, 3, 0, 2.815)
R(ring_stage, metal2, [(0,-0.7,0.38,0), (0,0.38,0.38,2.135), (6.58,1.455,6.96,1.835), (0,2.515,0.38,4.27), (6.58,3.59,6.96,3.97), (0,4.65,0.38,7.085), (1.78,5.725,2.16,6.105), (8.18,6.405,8.56,6.785), (0,7.085,12.56,7.465), (0,7.465,0.38,9.22), (2.58,7.805,14.58,8.185), (6.58,8.54,6.96,8.92), (0,9.22,12.56,9.6), (0,9.6,0.38,12.035), (3.38,10.675,3.76,11.055), (9.78,11.355,10.16,11.735), (0,12.035,12.56,12.415), (0,12.415,0.38,14.85), (4.98,13.49,5.36,13.87), (9.78,14.17,10.16,14.55), (0,14.85,13.96,15.23), (0,15.23,0.38,16.05), (1.78,16.305,2.16,16.685), (4.98,16.985,5.36,17.365), (8.18,17.665,8.56,18.045), (11.28,18.345,11.66,18.725), (15.935,40.525,16.315,40.905)])
R(ring_stage, via2, [(6.64,1.515,6.9,1.775), (6.64,3.65,6.9,3.91), (1.84,5.785,2.1,6.045), (8.24,6.465,8.5,6.725), (6.64,8.6,6.9,8.86), (3.44,10.735,3.7,10.995), (9.84,11.415,10.1,11.675), (5.04,13.55,5.3,13.81), (9.84,14.23,10.1,14.49), (1.84,16.365,2.1,16.625), (5.04,17.045,5.3,17.305), (8.24,17.725,8.5,17.985), (11.34,18.405,11.6,18.665), (15.995,40.585,16.255,40.845)])
R(ring_stage, metal3, [(6.58,1.455,6.96,1.835), (6.58,3.59,6.96,3.97), (1.78,5.725,2.16,6.105), (8.18,6.405,8.56,6.785), (6.58,8.54,6.96,8.92), (3.38,10.675,3.76,11.055), (9.78,11.355,10.16,11.735), (4.98,13.49,5.36,13.87), (9.78,14.17,10.16,14.55), (1.78,16.305,2.16,16.685), (4.98,16.985,5.36,17.365), (8.18,17.665,8.56,18.045), (11.28,18.345,11.66,18.725), (15.935,40.525,16.315,40.905)])

ring_core = lib.new_cell('ring_core')
R(ring_core, nwell, [(-7.94,32.84,135.765,42.745)])
R(ring_core, comp, [(-9.74,-1.69,137.565,-1.31), (-9.74,-1.31,-9.36,43.945), (137.185,-1.31,137.565,43.945), (-7.79,32.99,135.615,33.37), (-7.79,33.37,-7.41,42.215), (135.235,33.37,135.615,42.215), (-7.79,42.215,135.615,42.595), (-9.74,43.945,137.565,44.325)])
R(ring_core, pplus, [(-9.76,-1.71,137.585,-1.29), (-9.76,-1.29,-9.34,43.925), (137.165,-1.29,137.585,43.925), (-9.76,43.925,137.585,44.345)])
R(ring_core, nplus, [(-7.95,32.83,135.775,33.43), (-7.95,33.43,-7.35,42.155), (135.175,33.43,135.775,42.155), (-7.95,42.155,135.775,42.755)])
A(ring_core, contact, -9.05, -1.61, 0.22, 0.22, 311, 2, 0.47, 45.635)
A(ring_core, contact, -9.66, -1.12, 0.22, 0.22, 1, 96, 0, 0.47)
A(ring_core, contact, 137.265, -1.12, 0.22, 0.22, 1, 96, 0, 0.47)
A(ring_core, contact, -7.065, 33.07, 0.22, 0.22, 43, 1, 0.47, 0)
A(ring_core, contact, 15.78, 33.07, 0.22, 0.22, 34, 1, 0.47, 0)
A(ring_core, contact, 34.305, 33.07, 0.22, 0.22, 34, 1, 0.47, 0)
A(ring_core, contact, 52.83, 33.07, 0.22, 0.22, 34, 1, 0.47, 0)
A(ring_core, contact, 71.355, 33.07, 0.22, 0.22, 34, 1, 0.47, 0)
A(ring_core, contact, 89.815, 33.07, 0.22, 0.22, 36, 1, 0.47, 0)
A(ring_core, contact, 107.555, 33.07, 0.22, 0.22, 59, 1, 0.47, 0)
A(ring_core, contact, -7.71, 33.685, 0.22, 0.22, 1, 18, 0, 0.47)
A(ring_core, contact, 135.315, 33.685, 0.22, 0.22, 1, 18, 0, 0.47)
A(ring_core, contact, -7.17, 42.295, 0.22, 0.22, 303, 1, 0.47, 0)
R(ring_core, contact, [(-9.66,-1.61,-9.44,-1.39), (137.265,-1.61,137.485,-1.39), (-7.71,33.07,-7.49,33.29), (135.315,33.07,135.535,33.29), (-7.71,42.295,-7.49,42.515), (135.315,42.295,135.535,42.515), (-9.66,44.025,-9.44,44.245), (137.265,44.025,137.485,44.245)])
A(ring_core, metal1, 15.615, 32.985, 16.06, 0.39, 4, 1, 18.525, 0)
R(ring_core, metal1, [(-9.745,-2.7,137.57,-0.3), (-9.745,-0.3,-9.355,43.94), (137.18,-0.3,137.57,43.94), (14.995,22.99,15.375,23.37), (31.915,22.99,32.295,23.37), (13.39,25.05,13.77,25.43), (52.045,25.05,52.425,25.43), (50.44,27.11,50.82,27.49), (89.095,27.11,89.475,27.49), (70.57,29.17,70.95,29.55), (87.49,29.17,87.87,29.55), (33.52,31.23,33.9,31.61), (68.965,31.23,69.345,31.61), (-7.795,32.985,13.15,33.375), (89.715,32.985,106.585,33.375), (107.445,32.985,135.62,33.375), (-7.795,33.375,-7.405,41.205), (135.23,33.375,135.62,41.205), (-8.24,41.205,136.065,43.605), (-9.745,43.94,137.57,44.33)])
A(ring_core, via1, -7.97, -2.15, 0.26, 0.26, 72, 3, 2, 0.52)
A(ring_core, via1, -7.97, 41.755, 0.26, 0.26, 72, 3, 2, 0.52)
R(ring_core, via1, [(15.055,23.05,15.315,23.31), (31.975,23.05,32.235,23.31), (13.45,25.11,13.71,25.37), (52.105,25.11,52.365,25.37), (50.5,27.17,50.76,27.43), (89.155,27.17,89.415,27.43), (70.63,29.23,70.89,29.49), (87.55,29.23,87.81,29.49), (33.58,31.29,33.84,31.55), (69.025,31.29,69.285,31.55)])
A(ring_core, metal2, -7.04, 22.01, 100.045, 0.28, 1, 6, 0, 2.06)
A(ring_core, metal2, 92.625, 22.29, 0.38, 1.78, 1, 5, 0, 2.06)
R(ring_core, metal2, [(-8.24,-2.7,136.065,-0.3), (92.625,15.65,93.005,22.01), (-10.04,22.99,32.295,23.37), (13.39,25.05,52.425,25.43), (50.44,27.11,89.475,27.49), (48.835,29.17,87.87,29.55), (30.31,31.23,69.345,31.61), (-8.24,41.205,136.065,43.605)])
R(ring_core, metal2_pin, [(-7.29,-1.55,-7.19,-1.45), (-9.89,23.13,-9.79,23.23), (32.85,25.19,32.95,25.29), (69.9,27.25,70,27.35), (79.17,29.31,79.27,29.41), (51.38,31.37,51.48,31.47), (-7.29,42.355,-7.19,42.455)])
A(ring_core, metal3, 0, 1.455, 134.115, 0.38, 1, 3, 0, 2.135)
A(ring_core, metal3, 0, 6.405, 131.355, 0.38, 1, 3, 0, 2.135)
R(ring_core, metal3, [(113.135,-4.3,113.515,0.38), (113.815,-4.3,114.195,0.38), (117.255,-4.3,117.635,0.38), (117.935,-4.3,118.315,0.38), (121.375,-4.3,121.755,0.38), (122.055,-4.3,122.435,0.38), (125.495,-4.3,125.875,0.38), (126.175,-4.3,126.555,0.38), (129.615,-4.3,129.995,0.38), (130.295,-4.3,130.675,0.38), (0,11.355,127.235,11.735), (0,13.49,127.235,13.87), (0,14.17,123.115,14.55), (0,16.305,123.115,16.685), (0,16.985,118.995,17.365), (0,17.665,114.875,18.045), (0,18.345,137.865,18.725), (133.925,36.58,137.865,36.96), (15.935,40.525,94.545,40.905)])
R(ring_core, metal3_pin, [(113.275,-4.05,113.375,-3.95), (113.955,-4.05,114.055,-3.95), (117.395,-4.05,117.495,-3.95), (118.075,-4.05,118.175,-3.95), (121.515,-4.05,121.615,-3.95), (122.195,-4.05,122.295,-3.95), (125.635,-4.05,125.735,-3.95), (126.315,-4.05,126.415,-3.95), (129.755,-4.05,129.855,-3.95), (130.435,-4.05,130.535,-3.95), (137.615,18.485,137.715,18.585), (137.615,36.72,137.715,36.82)])
ring_core.add(gdstk.Reference(ring_sw, (113.135,0)))
ring_core.add(gdstk.Reference(ring_master, (92.625,0)))
ring_core.add(gdstk.Reference(ring_stage, (74.1,0)))
ring_core.add(gdstk.Reference(ring_stage, (55.575,0)))
ring_core.add(gdstk.Reference(ring_stage, (37.05,0)))
ring_core.add(gdstk.Reference(ring_stage, (18.525,0)))
ring_core.add(gdstk.Reference(ring_stage, (0,0)))
ring_core.add(gdstk.Label('VSS', (-7.24,-1.5), layer=36, texttype=10))
ring_core.add(gdstk.Label('VDD', (-7.24,42.405), layer=36, texttype=10))
ring_core.add(gdstk.Label('bit0', (114.005,-4), layer=42, texttype=10))
ring_core.add(gdstk.Label('bitb0', (113.325,-4), layer=42, texttype=10))
ring_core.add(gdstk.Label('bit1', (118.125,-4), layer=42, texttype=10))
ring_core.add(gdstk.Label('bitb1', (117.445,-4), layer=42, texttype=10))
ring_core.add(gdstk.Label('bit2', (122.245,-4), layer=42, texttype=10))
ring_core.add(gdstk.Label('bitb2', (121.565,-4), layer=42, texttype=10))
ring_core.add(gdstk.Label('bit3', (126.365,-4), layer=42, texttype=10))
ring_core.add(gdstk.Label('bitb3', (125.685,-4), layer=42, texttype=10))
ring_core.add(gdstk.Label('bit4', (130.485,-4), layer=42, texttype=10))
ring_core.add(gdstk.Label('bitb4', (129.805,-4), layer=42, texttype=10))
ring_core.add(gdstk.Label('a0', (-9.84,23.18), layer=36, texttype=10))
ring_core.add(gdstk.Label('a1', (32.9,25.24), layer=36, texttype=10))
ring_core.add(gdstk.Label('a2', (69.95,27.3), layer=36, texttype=10))
ring_core.add(gdstk.Label('a3', (79.22,29.36), layer=36, texttype=10))
ring_core.add(gdstk.Label('a4', (51.43,31.42), layer=36, texttype=10))
ring_core.add(gdstk.Label('vctrl', (137.665,18.535), layer=42, texttype=10))
ring_core.add(gdstk.Label('vbn', (137.665,36.77), layer=42, texttype=10))

lib.write_gds('ring_core.gds')
